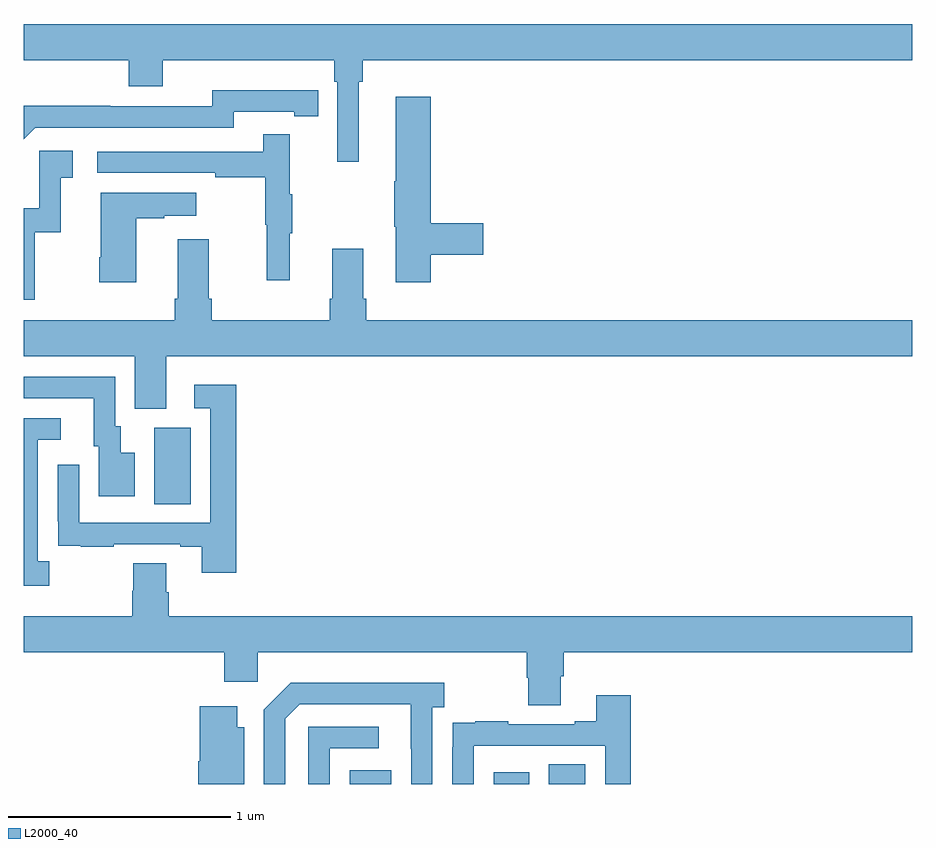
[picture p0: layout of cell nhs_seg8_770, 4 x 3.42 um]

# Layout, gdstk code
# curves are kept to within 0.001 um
import gdstk
lib = gdstk.Library(unit=1e-6, precision=1e-09)
def R(c, l, rs):  # rectangles x0, y0, x1, y1
    for r in rs: c.add(gdstk.rectangle(r[:2], r[2:], *l))
def P(c, l, *ps):  # polygons
    for p in ps: c.add(gdstk.Polygon(p, *l))
L2000_40 = (2000, 40)

nhs_seg8_770 = lib.new_cell('nhs_seg8_770')
R(nhs_seg8_770, L2000_40, [(162.467,1123.9,162.655,1123.963), (163.115,1123.9,163.276,1123.954), (163.364,1123.9,163.528,1123.988), (161.588,1125.16,161.752,1125.504)])
P(nhs_seg8_770, L2000_40, [(161,1127.156),(161.474,1127.156),(161.474,1127.039),(161.626,1127.039),(161.626,1127.156),(162.398,1127.156),(162.398,1127.06),(162.411,1127.06),(162.411,1126.701),(162.508,1126.701),(162.508,1127.06),(162.527,1127.06),(162.527,1127.156),(165,1127.156),(165,1127.32),(161,1127.32)],
  [(161.052,1126.854),(161.946,1126.854),(161.946,1126.926),(162.218,1126.926),(162.218,1126.906),(162.326,1126.906),(162.326,1127.022),(161.85,1127.023),(161.85,1126.95),(161.39,1126.95),(161.39,1126.952),(161,1126.952),(161,1126.802)],
  [(162.833,1126.282),(163.069,1126.282),(163.069,1126.424),(162.833,1126.424),(162.833,1126.993),(162.674,1126.993),(162.674,1126.613),(162.667,1126.613),(162.667,1126.407),(162.674,1126.407),(162.674,1126.158),(162.833,1126.158)],
  [(162.197,1126.379),(162.208,1126.379),(162.208,1126.553),(162.197,1126.553),(162.197,1126.825),(162.079,1126.825),(162.079,1126.746),(161.331,1126.746),(161.331,1126.65),(161.863,1126.65),(161.863,1126.63),(162.087,1126.63),(162.087,1126.416),(162.094,1126.416),(162.094,1126.167),(162.197,1126.167)],
  [(161.05,1126.383),(161.168,1126.383),(161.168,1126.629),(161.221,1126.629),(161.221,1126.75),(161.07,1126.75),(161.07,1126.491),(161,1126.491),(161,1126.08),(161.05,1126.08)],
  [(161.506,1126.447),(161.633,1126.447),(161.633,1126.457),(161.776,1126.457),(161.776,1126.561),(161.348,1126.561),(161.348,1126.27),(161.341,1126.27),(161.341,1126.158),(161.506,1126.158)],
  [(165,1125.988),(162.542,1125.988),(162.542,1126.084),(162.529,1126.084),(162.529,1126.309),(162.389,1126.309),(162.389,1126.084),(162.377,1126.084),(162.377,1125.988),(161.846,1125.988),(161.846,1126.084),(161.833,1126.084),(161.833,1126.351),(161.693,1126.351),(161.693,1126.084),(161.681,1126.084),(161.681,1125.988),(161,1125.988),(161,1125.824),(161.501,1125.824),(161.501,1125.589),(161.641,1125.589),(161.641,1125.824),(165,1125.824)],
  [(161.5,1125.391),(161.437,1125.391),(161.437,1125.51),(161.412,1125.51),(161.412,1125.732),(161,1125.732),(161,1125.636),(161.315,1125.636),(161.315,1125.42),(161.339,1125.42),(161.339,1125.195),(161.5,1125.195)],
  [(161.957,1125.697),(161.769,1125.697),(161.769,1125.591),(161.841,1125.591),(161.841,1125.075),(161.25,1125.075),(161.25,1125.337),(161.154,1125.337),(161.154,1125.082),(161.155,1125.082),(161.155,1124.973),(161.257,1124.973),(161.257,1124.967),(161.405,1124.967),(161.405,1124.979),(161.705,1124.979),(161.705,1124.967),(161.801,1124.967),(161.801,1124.85),(161.957,1124.85)],
  [(161.116,1124.902),(161.064,1124.902),(161.064,1125.45),(161.167,1125.45),(161.167,1125.546),(161,1125.546),(161,1124.792),(161.116,1124.792)],
  [(163.417,1124.386),(163.43,1124.386),(163.43,1124.492),(165,1124.492),(165,1124.656),(161.654,1124.656),(161.654,1124.762),(161.641,1124.762),(161.641,1124.894),(161.494,1124.894),(161.494,1124.769),(161.489,1124.769),(161.489,1124.656),(161,1124.656),(161,1124.492),(161.903,1124.492),(161.903,1124.361),(162.054,1124.361),(162.054,1124.492),(163.265,1124.492),(163.265,1124.379),(163.27,1124.379),(163.27,1124.254),(163.417,1124.254)],
  [(162.177,1124.193),(162.243,1124.259),(162.743,1124.259),(162.744,1123.9),(162.84,1123.9),(162.84,1124.246),(162.892,1124.246),(162.892,1124.356),(162.202,1124.356),(162.081,1124.235),(162.081,1123.9),(162.177,1123.9)],
  [(163.026,1124.073),(163.617,1124.073),(163.617,1123.9),(163.733,1123.9),(163.733,1124.299),(163.577,1124.299),(163.577,1124.182),(163.481,1124.182),(163.481,1124.169),(163.181,1124.169),(163.181,1124.182),(163.033,1124.182),(163.033,1124.175),(162.931,1124.175),(162.931,1124.066),(162.93,1124.066),(162.93,1123.9),(163.026,1123.9)],
  [(161.992,1124.155),(161.962,1124.155),(161.962,1124.251),(161.792,1124.251),(161.792,1124.002),(161.785,1124.002),(161.785,1123.9),(161.992,1123.9)],
  [(162.378,1124.061),(162.598,1124.061),(162.598,1124.157),(162.282,1124.157),(162.282,1123.9),(162.378,1123.9)])

lib.write_gds('nhs_seg8_770.gds')
